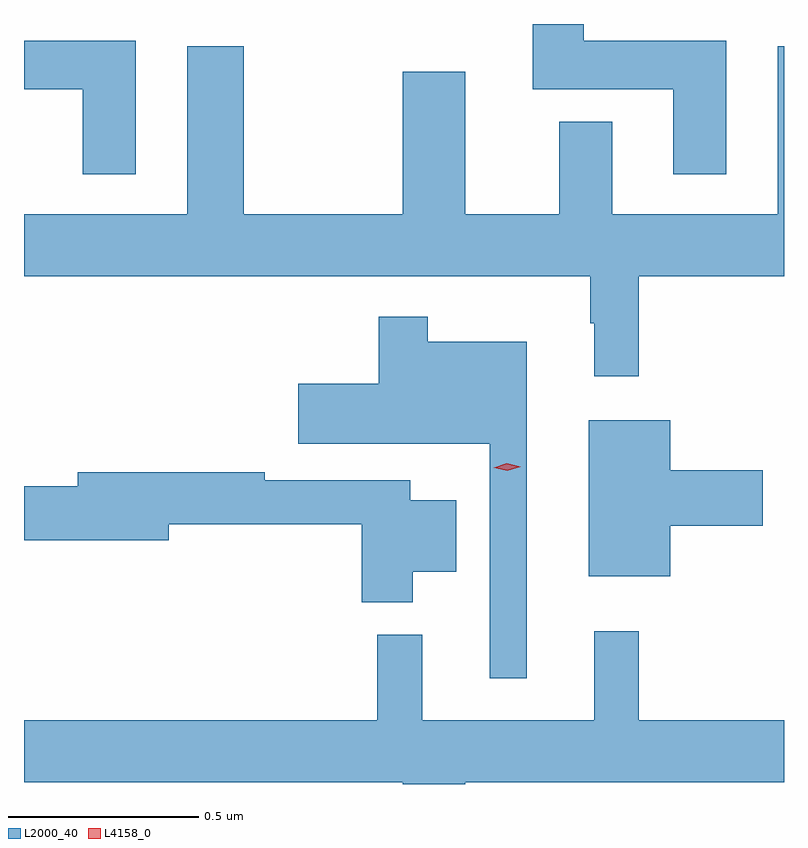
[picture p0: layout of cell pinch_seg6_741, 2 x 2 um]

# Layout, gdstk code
import gdstk
lib = gdstk.Library(unit=1e-6, precision=1e-09)
def P(c, l, *ps):  # polygons
    for p in ps: c.add(gdstk.Polygon(p, *l))
L2000_40 = (2000, 40)
L4158_0 = (4158, 0)

pinch_seg6_741 = lib.new_cell('pinch_seg6_741')
P(pinch_seg6_741, L2000_40, [(621.403,943.96),(621.028,943.96),(621.028,944.004),(620.894,944.004),(620.894,943.832),(621.263,943.832),(621.263,943.608),(621.403,943.608)],
  [(619.849,943.96),(619.555,943.96),(619.555,943.832),(619.709,943.832),(619.709,943.608),(619.849,943.608)],
  [(621.173,943.34),(621.555,943.34),(621.555,943.945),(621.539,943.945),(621.539,943.504),(621.103,943.504),(621.103,943.747),(620.963,943.747),(620.963,943.504),(620.716,943.504),(620.716,943.879),(620.552,943.879),(620.552,943.504),(620.133,943.504),(620.133,943.945),(619.985,943.945),(619.985,943.504),(619.555,943.504),(619.555,943.34),(621.045,943.34),(621.045,943.217),(621.056,943.217),(621.056,943.077),(621.173,943.077)],
  [(620.878,943.168),(620.617,943.168),(620.617,943.234),(620.488,943.234),(620.488,943.057),(620.277,943.057),(620.277,942.899),(620.781,942.899),(620.781,942.282),(620.878,942.282)],
  [(621.256,942.683),(621.499,942.683),(621.499,942.83),(621.256,942.83),(621.256,942.961),(621.041,942.961),(621.041,942.551),(621.256,942.551)],
  [(620.578,942.563),(620.692,942.563),(620.692,942.751),(620.572,942.751),(620.572,942.804),(620.189,942.804),(620.189,942.824),(619.697,942.824),(619.697,942.788),(619.555,942.788),(619.555,942.646),(619.936,942.646),(619.936,942.688),(620.444,942.688),(620.444,942.482),(620.578,942.482)],
  [(620.716,942.008),(621.555,942.008),(621.555,942.172),(621.173,942.172),(621.173,942.406),(621.056,942.406),(621.056,942.172),(620.603,942.172),(620.603,942.397),(620.485,942.397),(620.485,942.172),(619.555,942.172),(619.555,942.008),(620.552,942.008),(620.552,942.004),(620.716,942.004)])
P(pinch_seg6_741, L4158_0, [(620.827,942.828),(620.791,942.836),(620.791,942.836),(620.791,942.836),(620.826,942.848),(620.862,942.839),(620.862,942.839),(620.862,942.839)])

lib.write_gds('pinch_seg6_741.gds')
